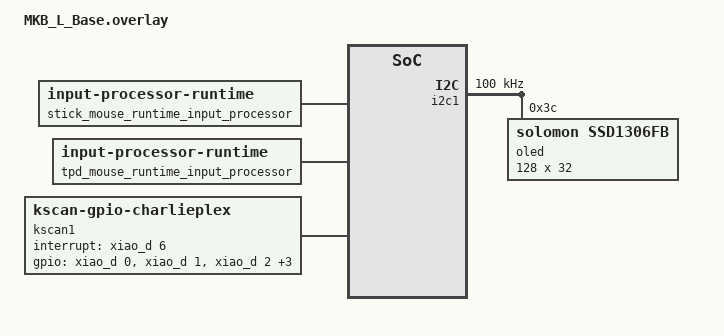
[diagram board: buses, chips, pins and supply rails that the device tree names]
#include <input/processors.dtsi>
#include <dt-bindings/zmk/input_transform.h>
#include <dt-bindings/zmk/runtime_input_processor.h>
#include <zephyr/dt-bindings/input/input-event-codes.h>
#include <dt-bindings/zmk/keys.h>
#include "MKB_pinctrl_L.dtsi"
#include "MKB.dtsi"
#include <input/processors/runtime-input-processor.dtsi>

/ {
    chosen {
        zephyr,display = &oled;
    };

    zip_keybind_keys: zip_keybind_keys {
        compatible = "zmk,input-processor-keybind";
        #input-processor-cells = <0>;
        track_remainders;
        bindings = <&kp RIGHT>,
                   <&kp LEFT>,
                   <&kp UP>,
                   <&kp DOWN>;
        tick = <40>;
        wait-ms = <0>;
        tap-ms = <10>;
    };

    split_inputs {
        #address-cells = <1>;
        #size-cells = <0>;

        trackball_split: trackball_split@0 {
            compatible = "zmk,input-split";
            reg = <0>;
        };

        magnet_split: magnet_split@1 {
            compatible = "zmk,input-split";
            reg = <1>;
        };

        stick_split: stick_split@2 {
            compatible = "zmk,input-split";
            reg = <2>;
        };

        trackpad_split: trackpad_split@3 {
            compatible = "zmk,input-split";
            reg = <3>;
        };
    };

    stick_mouse_runtime_input_processor: stick_mouse_runtime_input_processor {
        compatible = "zmk,input-processor-runtime";
        processor-label = "stickm";
        type = <INPUT_EV_REL>;
        x-codes = <INPUT_REL_X>;
        y-codes = <INPUT_REL_Y>;
        track-remainders;
        temp-layer-transparent-behavior = <&trans>;
        temp-layer-kp-behavior = <&kp>;
        temp-layer-keep-keycodes = <LEFT_CONTROL LEFT_SHIFT LEFT_ALT LEFT_GUI RIGHT_CONTROL RIGHT_SHIFT RIGHT_ALT RIGHT_GUI>;
        #input-processor-cells = <0>;
    };

    stick_scroll_runtime_input_processor: stick_scroll_runtime_input_processor {
        compatible = "zmk,input-processor-runtime";
        processor-label = "sticks";
        type = <INPUT_EV_REL>;
        x-codes = <INPUT_REL_X>;
        y-codes = <INPUT_REL_Y>;
        xy-to-scroll-enabled;
        scale-divisor = <60>;
        track-remainders;
        temp-layer-transparent-behavior = <&trans>;
        temp-layer-kp-behavior = <&kp>;
        temp-layer-keep-keycodes = <LEFT_CONTROL LEFT_SHIFT LEFT_ALT LEFT_GUI RIGHT_CONTROL RIGHT_SHIFT RIGHT_ALT RIGHT_GUI>;
        axis-snap-mode = <AXIS_SNAP_MODE_Y>;
        axis-snap-threshold = <600>;
        #input-processor-cells = <0>;
    };

    tpd_mouse_runtime_input_processor: tpd_mouse_runtime_input_processor {
        compatible = "zmk,input-processor-runtime";
        processor-label = "tpdm";
        type = <INPUT_EV_REL>;
        x-codes = <INPUT_REL_X>;
        y-codes = <INPUT_REL_Y>;
        track-remainders;
        temp-layer-transparent-behavior = <&trans>;
        temp-layer-kp-behavior = <&kp>;
        temp-layer-keep-keycodes = <LEFT_CONTROL LEFT_SHIFT LEFT_ALT LEFT_GUI RIGHT_CONTROL RIGHT_SHIFT RIGHT_ALT RIGHT_GUI>;
        #input-processor-cells = <0>;
    };

    tpd_scroll_runtime_input_processor: tpd_scroll_runtime_input_processor {
        compatible = "zmk,input-processor-runtime";
        processor-label = "tpds";
        type = <INPUT_EV_REL>;
        x-codes = <INPUT_REL_X>;
        y-codes = <INPUT_REL_Y>;
        xy-to-scroll-enabled;
        scale-divisor = <60>;
        track-remainders;
        temp-layer-transparent-behavior = <&trans>;
        temp-layer-kp-behavior = <&kp>;
        temp-layer-keep-keycodes = <LEFT_CONTROL LEFT_SHIFT LEFT_ALT LEFT_GUI RIGHT_CONTROL RIGHT_SHIFT RIGHT_ALT RIGHT_GUI>;
        axis-snap-mode = <AXIS_SNAP_MODE_Y>;
        axis-snap-threshold = <600>;
        #input-processor-cells = <0>;
    };

    kscan0: kscan0 {
        compatible = "zmk,kscan-composite";
        matrix {
            kscan = <&kscan1>;
        };
        direct {
            row-offset = <6>;
            kscan = <&kscan2>;
        };
    };

    kscan1: kscan1 {
        compatible = "zmk,kscan-gpio-charlieplex";
        interrupt-gpios = <&xiao_d 6 (GPIO_ACTIVE_HIGH)>;
        gpios
            = <&xiao_d  0 (GPIO_ACTIVE_HIGH)>
            , <&xiao_d  1 (GPIO_ACTIVE_HIGH)>
            , <&xiao_d  2 (GPIO_ACTIVE_HIGH)>
            , <&xiao_d  3 (GPIO_ACTIVE_HIGH)>
            , <&gpio0   9 (GPIO_ACTIVE_HIGH)>
            , <&gpio0  10 (GPIO_ACTIVE_HIGH)>
            ;
    };
    
    kscan2: kscan2 {
        compatible = "zmk,kscan-mock";
        columns = <0>;
        rows = <0>;
        events = <>;
    };
};

&i2c1 {
    status = "okay";
    compatible = "nordic,nrf-twi";
    pinctrl-0 = <&i2c1_default>;
    pinctrl-1 = <&i2c1_sleep>;
    pinctrl-names = "default", "sleep";
    clock-frequency = <100000>; 
    
    oled: ssd1306@3c {
        compatible = "solomon,ssd1306fb";
        reg = <0x3c>;
        width = <128>;
        height = <32>;
        segment-offset = <0>;
        page-offset = <0>;
        display-offset = <0>;
        multiplex-ratio = <31>;
        segment-remap;
        com-invdir;
        com-sequential;
        inversion-on;
        prechargep = <0x22>;
    };
};
